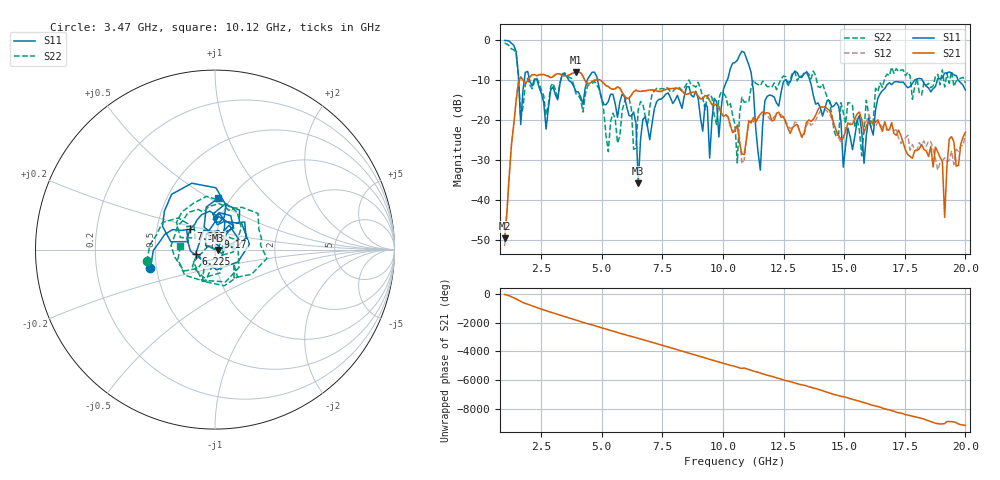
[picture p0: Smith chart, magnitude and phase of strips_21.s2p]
!Agilent Technologies,N5230A,MY45001629,A.07.50.67
!Agilent N5230A: A.07.50.67
!Date: Monday, June 05, 2017 16:34:35
!Correction: S11(Full 2 Port(1,2))
!S21(Full 2 Port(1,2))
!S12(Full 2 Port(1,2))
!S22(Full 2 Port(1,2))
!S2P File: Measurements: S11, S21, S12, S22:
# Hz S  dB  R 50
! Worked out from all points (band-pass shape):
!   201 points, 1 GHz to 20 GHz, reference 50 ohm
!   highest |S21| = -8.11 dB at 3.945 GHz (marker M1); lowest = -49.6 dB at 1 GHz (marker M2)
!   |S21| within 3 dB of the highest: 1.561 GHz to 5.118 GHz (3.557 GHz wide, 107 % of centre)
!   lowest |S11| = -35.8 dB at 6.51 GHz (marker M3), VSWR 1.03, Z = 51.6 - j0.161 ohm
!   |S11| at or under -10 dB: 4.827 GHz to 10.18 GHz (5.358 GHz wide, 71.4 % of centre); 11.2 GHz to 12.81 GHz (1.609 GHz wide, 13.4 % of centre); 13.58 GHz to 17.93 GHz (4.357 GHz wide, 27.7 % of centre)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
!   |S22| runs from -30.8 to -0.9 dB; largest |S21 - S12| = 0.041
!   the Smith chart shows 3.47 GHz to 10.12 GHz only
!   S11 on the Smith chart (normalised r, x): 3.47 GHz: 0.46, -0.11; 6.225 GHz: 0.80, -0.04; 7.365 GHz: 0.74, +0.18; 9.17 GHz: 1.03, +0.14; 10.12 GHz: 0.88, +0.54
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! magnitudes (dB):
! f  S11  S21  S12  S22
! 1 GHz  -0.2  -49.6  -51.6  -0.9
! 1.57 GHz  -9.0  -10.7  -10.7  -8.7
! 2.71 GHz  -22.3  -9.0  -9.0  -18.9
! 3.47 GHz  -8.6  -9.1  -9.1  -8.3
! 3.945 GHz  -13.0  -8.1  -8.1  -13.6
! 4.23 GHz  -16.1  -9.1  -9.1  -18.1
! 6.225 GHz  -19.1  -13.9  -13.9  -17.2
! 6.51 GHz  -35.8  -12.9  -12.9  -17.5
! 7.365 GHz  -14.9  -12.9  -13.0  -12.5
! 9.17 GHz  -22.9  -14.7  -14.7  -14.4
! 10.12 GHz  -10.9  -18.8  -18.7  -14.2
! 10.5 GHz  -5.7  -22.8  -22.4  -21.3
! 11.16 GHz  -8.2  -20.8  -20.2  -11.9
! 11.54 GHz  -32.6  -18.6  -19.2  -11.5
! 11.83 GHz  -14.2  -18.2  -18.9  -11.8
! 13.73 GHz  -13.9  -19.9  -20.9  -7.8
! 15.72 GHz  -22.9  -19.9  -20.3  -29.0
! 16.86 GHz  -10.8  -22.5  -22.5  -9.0
! 18.77 GHz  -11.7  -26.8  -29.8  -9.2
! 19.14 GHz  -8.4  -44.4  -29.5  -11.8
! 19.34 GHz  -8.1  -24.8  -30.2  -10.9
! 20 GHz  -12.6  -23.2  -23.7  -10.8
